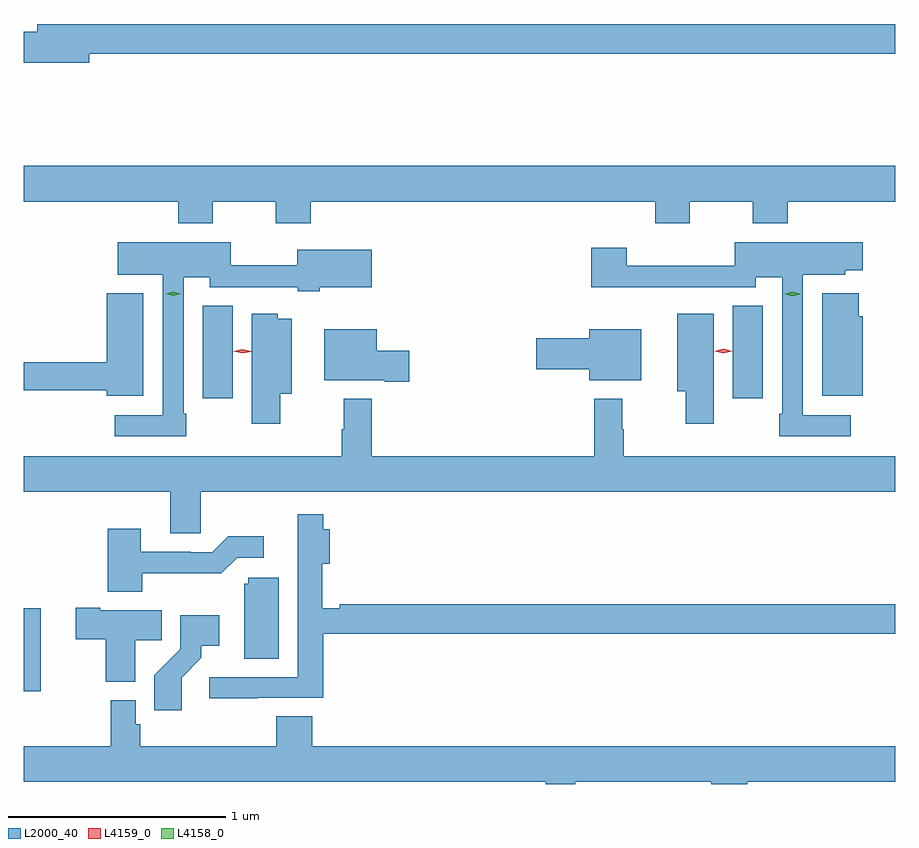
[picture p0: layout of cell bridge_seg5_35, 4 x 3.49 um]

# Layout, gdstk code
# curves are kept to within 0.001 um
import gdstk
lib = gdstk.Library(unit=1e-6, precision=1e-09)
def R(c, l, rs):  # rectangles x0, y0, x1, y1
    for r in rs: c.add(gdstk.rectangle(r[:2], r[2:], *l))
def P(c, l, *ps):  # polygons
    for p in ps: c.add(gdstk.Polygon(p, *l))
L2000_40 = (2000, 40)
L4158_0 = (4158, 0)
L4159_0 = (4159, 0)

bridge_seg5_35 = lib.new_cell('bridge_seg5_35')
R(bridge_seg5_35, L2000_40, [(887.147,841.191,887.224,841.572), (887.969,842.538,888.106,842.963), (890.402,842.538,890.539,842.963)])
P(bridge_seg5_35, L2000_40, [(887.446,844.12),(891.147,844.12),(891.147,844.256),(887.207,844.256),(887.207,844.22),(887.147,844.22),(887.147,844.078),(887.446,844.078)],
  [(888.015,843.44),(888.304,843.44),(888.304,843.341),(888.464,843.341),(888.464,843.44),(890.045,843.44),(890.045,843.341),(890.205,843.341),(890.205,843.44),(890.494,843.44),(890.494,843.341),(890.654,843.341),(890.654,843.44),(891.147,843.44),(891.147,843.604),(887.147,843.604),(887.147,843.44),(887.855,843.44),(887.855,843.341),(888.015,843.341)],
  [(887.893,842.467),(887.88,842.467),(887.88,843.092),(888,843.092),(888,843.048),(888.405,843.048),(888.405,843.028),(888.505,843.028),(888.505,843.047),(888.745,843.047),(888.745,843.22),(888.401,843.22),(888.401,843.149),(888.096,843.149),(888.096,843.253),(887.577,843.253),(887.577,843.104),(887.784,843.104),(887.784,842.46),(887.565,842.46),(887.565,842.364),(887.893,842.364)],
  [(890.944,842.46),(890.724,842.46),(890.724,843.104),(890.919,843.104),(890.919,843.125),(890.998,843.125),(890.998,843.253),(890.412,843.253),(890.412,843.146),(889.916,843.146),(889.916,843.229),(889.751,843.229),(889.751,843.047),(889.999,843.047),(889.999,843.048),(890.508,843.048),(890.508,843.092),(890.628,843.092),(890.628,842.467),(890.616,842.467),(890.616,842.364),(890.944,842.364)],
  [(890.998,842.913),(890.98,842.913),(890.98,843.019),(890.813,843.019),(890.813,842.549),(890.998,842.549)],
  [(887.695,843.019),(887.528,843.019),(887.528,842.702),(887.147,842.702),(887.147,842.574),(887.528,842.574),(887.528,842.549),(887.695,842.549)],
  [(890.314,842.926),(890.147,842.926),(890.147,842.57),(890.185,842.57),(890.185,842.421),(890.314,842.421)],
  [(888.324,842.558),(888.376,842.558),(888.376,842.902),(888.312,842.902),(888.312,842.926),(888.194,842.926),(888.194,842.421),(888.324,842.421)],
  [(889.981,842.854),(889.742,842.854),(889.742,842.813),(889.5,842.813),(889.5,842.671),(889.742,842.671),(889.742,842.621),(889.981,842.621)],
  [(888.916,842.756),(888.766,842.756),(888.766,842.854),(888.527,842.854),(888.527,842.621),(888.803,842.621),(888.803,842.614),(888.916,842.614)],
  [(887.958,842.108),(891.147,842.108),(891.147,842.272),(889.901,842.272),(889.901,842.396),(889.894,842.396),(889.894,842.536),(889.765,842.536),(889.765,842.272),(888.743,842.272),(888.743,842.536),(888.615,842.536),(888.615,842.396),(888.607,842.396),(888.607,842.272),(887.147,842.272),(887.147,842.108),(887.819,842.108),(887.819,841.918),(887.958,841.918)],
  [(888.221,841.161),(888.521,841.161),(888.521,841.456),(891.147,841.456),(891.147,841.592),(888.598,841.592),(888.598,841.574),(888.517,841.574),(888.517,841.778),(888.551,841.778),(888.551,841.936),(888.521,841.936),(888.521,842.005),(888.404,842.005),(888.404,841.782),(888.405,841.782),(888.405,841.257),(887.997,841.257),(887.997,841.159),(888.221,841.159)],
  [(887.691,841.734),(888.053,841.733),(888.126,841.806),(888.247,841.806),(888.247,841.903),(888.085,841.903),(888.012,841.83),(887.912,841.83),(887.912,841.833),(887.683,841.833),(887.683,841.939),(887.531,841.939),(887.531,841.649),(887.691,841.649)],
  [(888.316,841.713),(888.177,841.713),(888.177,841.686),(888.158,841.686),(888.158,841.342),(888.316,841.342)],
  [(887.659,841.426),(887.78,841.426),(887.78,841.564),(887.497,841.564),(887.497,841.576),(887.385,841.576),(887.385,841.43),(887.522,841.43),(887.522,841.235),(887.659,841.235)],
  [(887.872,841.255),(887.962,841.345),(887.962,841.4),(888.043,841.4),(888.043,841.54),(887.865,841.54),(887.865,841.385),(887.746,841.266),(887.746,841.104),(887.872,841.104)],
  [(888.47,841.076),(888.305,841.076),(888.305,840.94),(887.681,840.94),(887.681,841.041),(887.661,841.041),(887.661,841.15),(887.545,841.15),(887.545,840.94),(887.147,840.94),(887.147,840.776),(889.543,840.776),(889.543,840.766),(889.679,840.766),(889.679,840.776),(890.303,840.776),(890.303,840.766),(890.468,840.766),(890.468,840.776),(891.147,840.776),(891.147,840.94),(888.47,840.94)])
P(bridge_seg5_35, L4158_0, [(890.676,843.006),(890.641,843.015),(890.641,843.015),(890.641,843.015),(890.676,843.026),(890.711,843.017),(890.711,843.016),(890.711,843.016)],
  [(887.833,843.007),(887.798,843.017),(887.798,843.017),(887.798,843.018),(887.833,843.027),(887.868,843.018),(887.868,843.017),(887.868,843.017)])
P(bridge_seg5_35, L4159_0, [(890.358,842.744),(890.318,842.753),(890.317,842.754),(890.318,842.754),(890.358,842.764),(890.399,842.754),(890.399,842.754),(890.399,842.753)],
  [(888.149,842.743),(888.109,842.753),(888.109,842.754),(888.109,842.754),(888.15,842.763),(888.19,842.753),(888.19,842.753),(888.19,842.752)])

lib.write_gds('bridge_seg5_35.gds')
